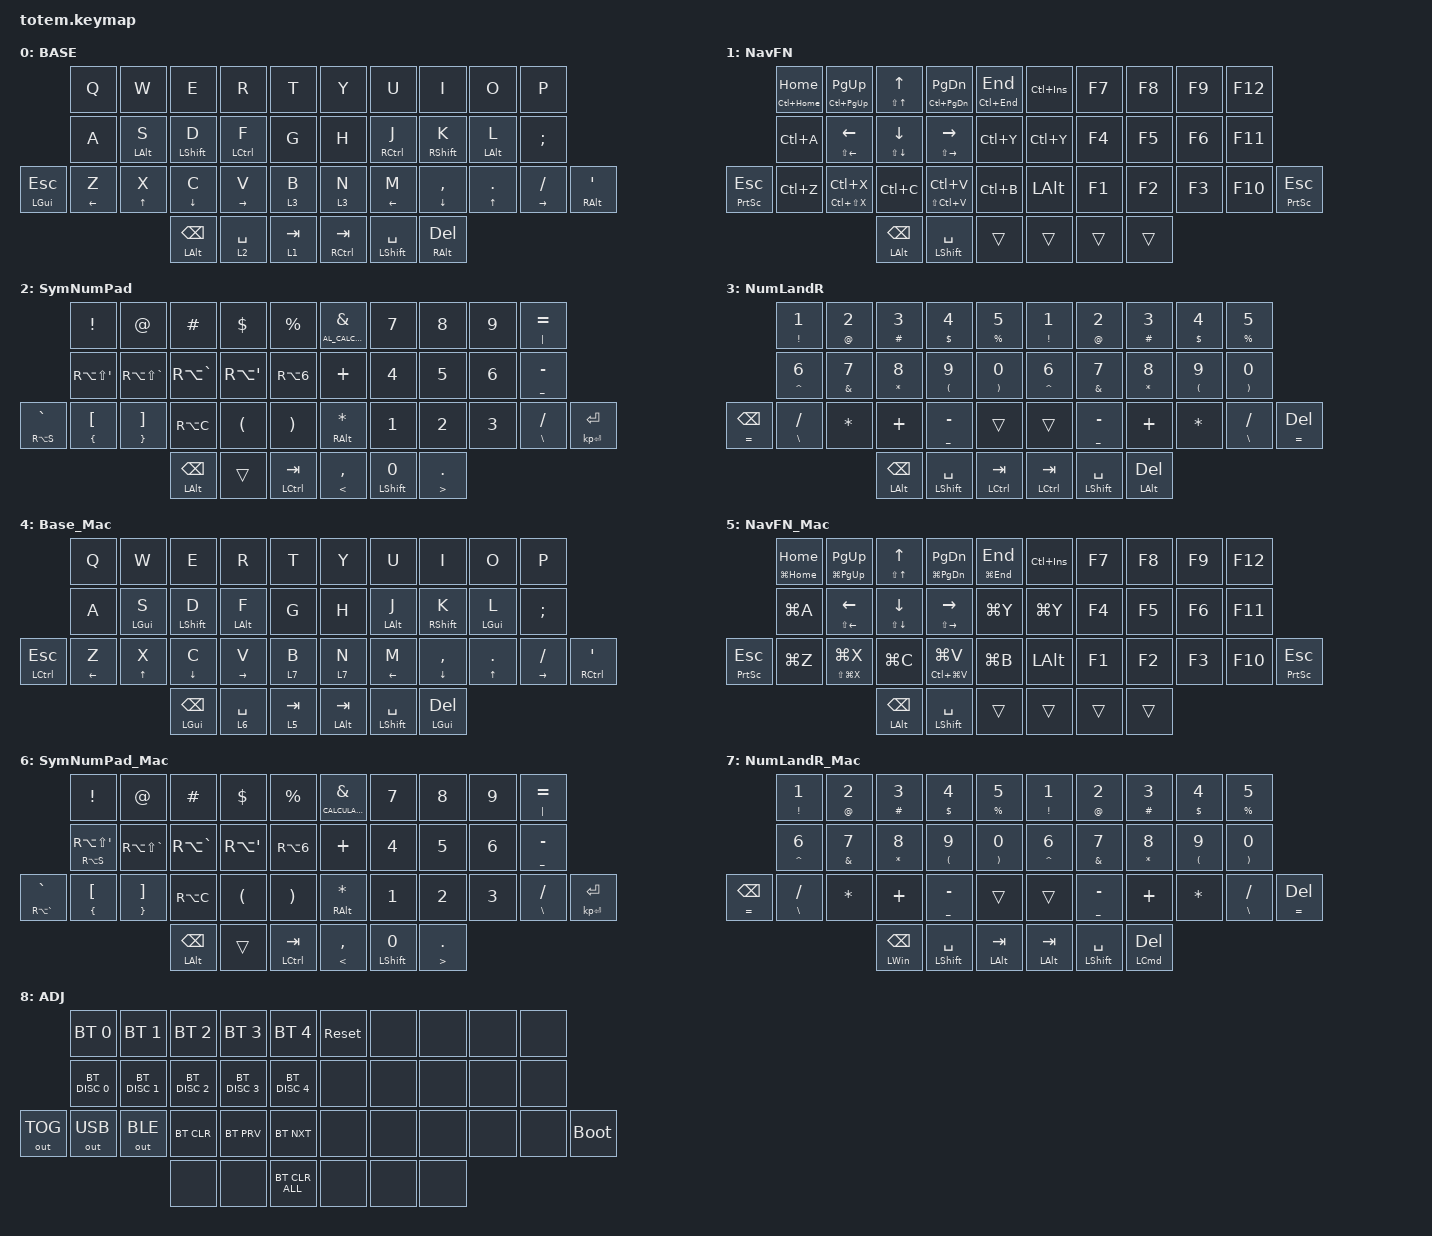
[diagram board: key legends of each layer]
//
//                                                        ▀▀▀▀▀     ▀▀▀▀▀          ▀▀█▀▀
//                                                        ▄▀▀▀▄  ▄  ▄▀▀▀▄  ▄  ▄▀▀▀▄  █  ▄▀▀▀▄
//                                                        █   █  █  █   █  █  █   █  █  █   █
//                                                         ▀▀▀   █   ▀▀▀   █   ▀▀▀   ▀   ▀▀▀
//                                                               █      ▄▄▄█▄▄▄    █   █  
//                                                               ▀      █  █  █     █▄█
//                                                             ▀▀▀▀▀    █  █  █      ▀
//                                                                      ▀  ▀  ▀
//
// ▄▄▄▄▄▄▄▄▄▄▄▄▄▄▄▄▄▄▄▄▄▄▄▄▄▄▄▄▄▄▄▄▄▄▄▄▄▄▄▄▄▄▄▄▄▄▄▄▄▄▄▄▄▄▄▄▄▄▄▄▄▄▄▄▄▄▄▄▄▄▄▄▄▄▄▄▄▄▄▄▄▄▄▄▄▄▄▄▄▄▄▄▄▄▄▄▄▄▄▄▄▄▄▄▄▄▄▄▄▄▄▄▄▄▄▄▄▄▄▄▄▄▄▄▄▄▄▄▄▄▄▄▄▄▄▄▄▄▄▄▄▄▄▄▄▄▄▄▄

#include <behaviors.dtsi>
#include <dt-bindings/zmk/bt.h>
#include <dt-bindings/zmk/keys.h>
#include <dt-bindings/zmk/outputs.h>

#define BASE 0
#define NAV  1
#define SYM  2
#define ADJ  3
#define TVP1 4
#define TVP2 5

&mt {
    quick-tap-ms = <100>;
    global-quick-tap;
    flavor = "tap-preferred";
    tapping-term-ms = <170>;
};

/ {
    combos {
        compatible = "zmk,combos";

        LDel {
            bindings = <&kp DELETE>;
            key-positions = <12 13>;
        };

        LCtrlDel {
            bindings = <&kp LC(DELETE)>;
            key-positions = <11 12 13>;
            layers = <0 1 2 3>;
        };

        LSpace {
            bindings = <&kp SPACE>;
            key-positions = <11 12>;
        };

        LCtrlBackspace {
            bindings = <&kp LC(BACKSPACE)>;
            key-positions = <12 11 10>;
            layers = <0 2 1 3>;
        };

        LEnter {
            bindings = <&kp ENTER>;
            key-positions = <13 10>;
        };

        Text_extract {
            bindings = <&kp LG(LS(E))>;
            key-positions = <3 2 1>;
        };

        Ctrl+Alt+Del {
            bindings = <&kp LC(LA(DELETE))>;
            key-positions = <35 36 37>;
            layers = <0 1 2 3>;
        };

        LCapsword {
            bindings = <&caps_word>;
            key-positions = <24 21>;
        };

        RCapsword {
            bindings = <&caps_word>;
            key-positions = <27 30>;
        };

        RDel {
            bindings = <&kp DELETE>;
            key-positions = <16 17>;
        };

        RCtrlDel {
            bindings = <&kp LC(DELETE)>;
            key-positions = <16 17 18>;
            layers = <0 1 2 3>;
        };

        RSpace {
            bindings = <&kp SPACE>;
            key-positions = <17 18>;
        };

        LBackspace {
            bindings = <&kp BACKSPACE>;
            key-positions = <11 10>;
        };

        RBackspace {
            bindings = <&kp BACKSPACE>;
            key-positions = <18 19>;
        };

        RCtrlBackspace {
            bindings = <&kp LC(BACKSPACE)>;
            key-positions = <17 18 19>;
            layers = <0 1 2 3>;
        };

        REnter {
            bindings = <&kp ENTER>;
            key-positions = <16 19>;
        };

        LAltEnter {
            bindings = <&kp LA(ENTER)>;
            key-positions = <13 12 11 10>;
        };

        RAltEnter {
            bindings = <&kp LA(ENTER)>;
            key-positions = <16 17 18 19>;
        };

        CtrlUp {
            bindings = <&mt LS(LC(UP_ARROW)) LC(UP_ARROW)>;
            key-positions = <2 34>;
            layers = <0 1 2 3>;
        };

        CtrlDown {
            bindings = <&mt LS(LC(DOWN)) LC(DOWN)>;
            key-positions = <34 12>;
            layers = <0 1 2 3>;
        };

        CtrlLeft {
            bindings = <&mt LS(LC(LEFT_ARROW)) LC(LEFT_ARROW)>;
            key-positions = <34 11>;
            layers = <0 1 2 3>;
        };

        CtrlRight {
            bindings = <&mt LS(LC(RIGHT_ARROW)) LC(RIGHT_ARROW)>;
            key-positions = <34 13>;
            layers = <0 1 2 3>;
        };

        Switch_to_Mac {
            bindings = <&tog 4>;
            key-positions = <6 7 8 35 9>;
            layers = <0>;
        };

        Switch_to_Win {
            bindings = <&tog 0>;
            key-positions = <6 7 8 35 9>;
            layers = <4>;
        };

        OptDel {
            bindings = <&kp LA(DELETE)>;
            key-positions = <11 12 13>;
            layers = <4 5 6 7>;
        };

        OptBackspace {
            bindings = <&kp LA(BACKSPACE)>;
            key-positions = <12 11 10>;
            layers = <4 5 6 7>;
        };

        ROptDel {
            bindings = <&kp LA(DELETE)>;
            key-positions = <16 17 18>;
            layers = <4 5 6 7>;
        };

        ROptBackspace {
            bindings = <&kp LA(BACKSPACE)>;
            key-positions = <17 18 19>;
            layers = <4 5 6 7>;
        };

        CmdUp {
            bindings = <&mt LS(LG(UP_ARROW)) LG(UP_ARROW)>;
            key-positions = <2 34>;
            layers = <4 5 6 7>;
        };

        CmdDown {
            bindings = <&mt LS(LG(DOWN)) LG(DOWN)>;
            key-positions = <34 12>;
            layers = <4 5 6 7>;
        };

        CmdLeft {
            bindings = <&mt LS(LG(LEFT_ARROW)) LG(LEFT_ARROW)>;
            key-positions = <34 11>;
            layers = <4 5 6 7>;
        };

        CmdRight {
            bindings = <&mt LS(LG(RIGHT_ARROW)) LG(RIGHT_ARROW)>;
            key-positions = <34 13>;
            layers = <4 5 6 7>;
        };

        To_Adj {
            bindings = <&to 8>;
            key-positions = <35 27 28 29 30>;
            layers = <0 4>;
        };

        Adj_to_Base {
            bindings = <&to 0>;
            key-positions = <35 27 28 29 30>;
            layers = <8>;
        };
    };

    behaviors {
        TD_Enter: TD_Enter {
            compatible = "zmk,behavior-tap-dance";
            label = "TD_ENTER";
            #binding-cells = <0>;
            bindings = <&mt LS(ENTER) ENTER>, <&mt LC(ENTER) LA(ENTER)>;
        };

        LeftHMR: LeftHMR {
            compatible = "zmk,behavior-hold-tap";
            label = "LEFTHMR";
            bindings = <&kp>, <&kp>;

            #binding-cells = <2>;
            tapping-term-ms = <280>;
            quick-tap-ms = <175>;
            require-prior-idle-ms = <150>;
            flavor = "balanced";
            hold-trigger-key-positions = <32 33 34 35 5 6 7 8 9 15 16 17 18 19 26 27 28 29 30 31 36 37>;
            hold-trigger-on-release;
        };

        RightHRM: RightHRM {
            compatible = "zmk,behavior-hold-tap";
            label = "RIGHTHRM";
            bindings = <&kp>, <&kp>;

            #binding-cells = <2>;
            tapping-term-ms = <280>;
            quick-tap-ms = <175>;
            require-prior-idle-ms = <150>;
            flavor = "balanced";
            hold-trigger-key-positions = <32 33 34 35 36 37 0 1 2 3 10 11 12 13 20 21 22 23 24 32 3 4 13 14 25>;
            hold-trigger-on-release;
        };
    };

    keymap {
        compatible = "zmk,keymap";

        // ▄▄▄▄▄▄▄▄▄▄▄▄▄▄▄▄▄▄▄▄▄▄▄▄▄▄▄▄▄▄▄▄▄▄▄▄▄▄▄▄▄▄▄▄▄▄▄▄▄▄▄▄▄▄▄▄▄▄▄▄▄▄▄▄▄▄▄▄▄▄▄▄▄▄▄▄▄▄▄▄▄▄▄▄▄▄▄▄▄▄▄▄▄▄▄▄▄▄▄▄▄▄▄▄▄▄▄▄▄▄▄▄▄▄▄▄▄▄▄▄▄▄▄▄▄▄▄▄▄▄▄▄▄▄▄▄▄▄▄▄▄▄▄▄▄▄▄▄▄

        base_layer {
            // ┏━━━━━━━━━━━━━━━━━━━━━━━━━━━━━━━━━━━━━━━┓

            label = "BASE";

            // ┗━━━━━━━━━━━━━━━━━━━━━━━━━━━━━━━━━━━━━━━┛
            //             ┏━━━━━━━━━━━┳━━━━━━━━━━━┳━━━━━━━━━━━┳━━━━━━━━━━━┳━━━━━━━━━━━┓   ┏━━━━━━━━━━━┳━━━━━━━━━━━┳━━━━━━━━━━━┳━━━━━━━━━━━┳━━━━━━━━━━━┓
            //             ┃     Q     ┃     W     ┃     F     ┃     P     ┃     G     ┃   ┃     J     ┃     L     ┃     U     ┃     Y     ┃     ;     ┃
            //             ┣━━━━━━━━━━━╋━━━━━━━━━━━╋━━━━━━━━━━━╋━━━━━━━━━━━╋━━━━━━━━━━━┫   ┣━━━━━━━━━━━╋━━━━━━━━━━━╋━━━━━━━━━━━╋━━━━━━━━━━━╋━━━━━━━━━━━┫
            //             ┃     A     ┃     R     ┃     S     ┃     T     ┃     D     ┃   ┃     H     ┃     N     ┃     E     ┃     I     ┃     O     ┃
            // ┏━━━━━━━━━━━╋━━━━━━━━━━━╋━━━━━━━━━━━╋━━━━━━━━━━━╋━━━━━━━━━━━╋━━━━━━━━━━━┫   ┣━━━━━━━━━━━╋━━━━━━━━━━━╋━━━━━━━━━━━╋━━━━━━━━━━━╋━━━━━━━━━━━╋━━━━━━━━━━━┓
            // ┃     Q     ┃     Z     ┃     X     ┃     C     ┃     V     ┃     B     ┃   ┃     K     ┃     M     ┃     ,     ┃     .     ┃     /     ┃     \     ┃
            // ┗━━━━━━━━━━━┻━━━━━━━━━━━┻━━━━━━━━━━━╋━━━━━━━━━━━╋━━━━━━━━━━━╋━━━━━━━━━━━┫   ┣━━━━━━━━━━━╋━━━━━━━━━━━╋━━━━━━━━━━━╋━━━━━━━━━━━┻━━━━━━━━━━━┻━━━━━━━━━━━┛
            //                                     ┃    DEL    ┃    TAB    ┃    SPC    ┃   ┃   ENTER   ┃           ┃   BSPC    ┃
            //                                     ┗━━━━━━━━━━━┻━━━━━━━━━━━┻━━━━━━━━━━━┛   ┗━━━━━━━━━━━┻━━━━━━━━━━━┻━━━━━━━━━━━┛

            bindings = <
                     &kp Q       &kp W                &kp E                   &kp R             &kp T        &kp Y          &kp U                 &kp I                    &kp O             &kp P
                     &kp A       &LeftHMR LEFT_ALT S  &LeftHMR LEFT_SHIFT D   &LeftHMR LCTRL F  &kp G        &kp H          &RightHRM RCTRL J     &RightHRM RIGHT_SHIFT K  &RightHRM LALT L  &kp SEMICOLON
&mt LEFT_GUI ESCAPE  &mt LEFT Z  &mt UP_ARROW X       &mt DOWN C              &mt RIGHT V       &lt 3 B      &lt 3 N        &mt LEFT M            &mt DOWN COMMA           &mt UP_ARROW DOT  &mt RIGHT SLASH  &mt RALT APOS
                                                      &mt LEFT_ALT BACKSPACE  &lt 2 SPACE       &lt 1 TAB    &mt RCTRL TAB  &mt LEFT_SHIFT SPACE  &mt RIGHT_ALT DELETE
            >;
        };

        NavFN {
            bindings = <
                        &mt LC(HOME) HOME  &mt LC(PG_UP) PG_UP  &mt LS(UP_ARROW) UP_ARROW  &mt LC(PAGE_DOWN) PAGE_DOWN  &mt LC(END) END    &kp LC(INSERT)  &kp F7  &kp F8  &kp F9  &kp F12
                        &kp LC(A)          &mt LS(LEFT) LEFT    &mt LS(DOWN) DOWN          &mt LS(RIGHT_ARROW) RIGHT    &kp LC(Y)          &kp LC(Y)       &kp F4  &kp F5  &kp F6  &kp F11
&mt PRINTSCREEN ESCAPE  &kp LC(Z)          &mt LC(LS(X)) LC(X)  &kp LC(C)                  &mt LS(LC(V)) LC(V)          &kp LC(B)          &kp LALT        &kp F1  &kp F2  &kp F3  &kp F10  &mt PRINTSCREEN ESCAPE
                                                                &mt LEFT_ALT BACKSPACE     &mt LEFT_SHIFT SPACE         &trans             &trans          &trans  &trans
            >;
        };

        SymNumPad {
            bindings = <
                 &kp EXCLAMATION              &kp AT_SIGN                    &kp HASH                &kp DOLLAR            &kp PERCENT              &mt C_AL_CALCULATOR AMPERSAND  &kp N7             &kp N8                   &kp N9        &mt PIPE EQUAL
                 &kp RA(LS(APOS))             &kp RA(LS(GRAVE))              &kp RA(GRAVE)           &kp RA(APOS)          &kp RA(NUMBER_6)         &kp PLUS                       &kp NUMBER_4       &kp N5                   &kp NUMBER_6  &mt UNDERSCORE MINUS
&mt RA(S) GRAVE  &mt LEFT_BRACE LEFT_BRACKET  &mt RIGHT_BRACE RIGHT_BRACKET  &kp RA(C)               &kp LEFT_PARENTHESIS  &kp RIGHT_PARENTHESIS    &mt RALT ASTERISK              &kp NUMBER_1       &kp NUMBER_2             &kp NUMBER_3  &mt BACKSLASH SLASH   &mt KP_ENTER ENTER
                                                                             &mt LEFT_ALT BACKSPACE  &trans                &mt LCTRL TAB            &mt LESS_THAN COMMA            &mt LEFT_SHIFT N0  &mt GREATER_THAN PERIOD
            >;
        };

        NumLandR {
            bindings = <
                     &mt EXCL NUMBER_1    &mt AT NUMBER_2   &mt HASH NUMBER_3       &mt DOLLAR NUMBER_4      &mt PERCENT N5              &mt EXCL NUMBER_1   &mt AT NUMBER_2       &mt HASH NUMBER_3    &mt DOLLAR NUMBER_4      &mt PERCENT N5
                     &mt CARET NUMBER_6   &mt AMPERSAND N7  &mt ASTERISK N8         &mt LEFT_PARENTHESIS N9  &mt RIGHT_PARENTHESIS N0    &mt CARET NUMBER_6  &mt AMPERSAND N7      &mt ASTERISK N8      &mt LEFT_PARENTHESIS N9  &mt RIGHT_PARENTHESIS N0
&mt EQUAL BACKSPACE  &mt BACKSLASH SLASH  &kp ASTERISK      &kp PLUS                &mt UNDER MINUS          &trans                      &trans              &mt UNDER MINUS       &kp PLUS             &kp ASTERISK             &mt BACKSLASH SLASH       &mt EQUAL DEL
                                                            &mt LEFT_ALT BACKSPACE  &mt LEFT_SHIFT SPACE     &mt LCTRL TAB               &mt LCTRL TAB       &mt LEFT_SHIFT SPACE  &mt LEFT_ALT DELETE
            >;
        };

        Base_Mac {
            bindings = <
                  &kp Q       &kp W            &kp E                  &kp R            &kp T        &kp Y         &kp U                 &kp I                    &kp O                 &kp P
                  &kp A       &LeftHMR LGUI S  &LeftHMR LEFT_SHIFT D  &LeftHMR LALT F  &kp G        &kp H         &RightHRM LALT J      &RightHRM RIGHT_SHIFT K  &RightHRM LEFT_GUI L  &kp SEMICOLON
&mt LCTRL ESCAPE  &mt LEFT Z  &mt UP_ARROW X   &mt DOWN C             &mt RIGHT V      &lt 7 B      &lt 7 N       &mt LEFT M            &mt DOWN COMMA           &mt UP_ARROW DOT      &mt RIGHT SLASH  &mt RCTRL APOS
                                               &mt LGUI BACKSPACE     &lt 6 SPACE      &lt 5 TAB    &mt LALT TAB  &mt LEFT_SHIFT SPACE  &mt LGUI DELETE
            >;
        };

        NavFN_Mac {
            bindings = <
                        &mt LG(HOME) HOME  &mt LG(PG_UP) PG_UP  &mt LS(UP_ARROW) UP_ARROW  &mt LG(PAGE_DOWN) PAGE_DOWN  &mt LG(END) END    &kp LC(INSERT)  &kp F7  &kp F8  &kp F9  &kp F12
                        &kp LG(A)          &mt LS(LEFT) LEFT    &mt LS(DOWN) DOWN          &mt LS(RIGHT_ARROW) RIGHT    &kp LG(Y)          &kp LG(Y)       &kp F4  &kp F5  &kp F6  &kp F11
&mt PRINTSCREEN ESCAPE  &kp LG(Z)          &mt LS(LG(X)) LG(X)  &kp LG(C)                  &mt LC(LG(V)) LG(V)          &kp LG(B)          &kp LALT        &kp F1  &kp F2  &kp F3  &kp F10  &mt PRINTSCREEN ESCAPE
                                                                &mt LEFT_ALT BACKSPACE     &mt LEFT_SHIFT SPACE         &trans             &trans          &trans  &trans
            >;
        };

        SymNumPad_Mac {
            bindings = <
                     &kp EXCLAMATION               &kp AT_SIGN                    &kp HASH                &kp DOLLAR            &kp PERCENT              &mt K_CALCULATOR AMPERSAND  &kp N7             &kp N8                   &kp N9        &mt PIPE EQUAL
                     &mt RA(S) RA(LS(APOSTROPHE))  &kp RA(LS(GRAVE))              &kp RA(GRAVE)           &kp RA(APOS)          &kp RA(NUMBER_6)         &kp PLUS                    &kp NUMBER_4       &kp N5                   &kp NUMBER_6  &mt UNDERSCORE MINUS
&mt RA(GRAVE) GRAVE  &mt LEFT_BRACE LEFT_BRACKET   &mt RIGHT_BRACE RIGHT_BRACKET  &kp RA(C)               &kp LEFT_PARENTHESIS  &kp RIGHT_PARENTHESIS    &mt RALT ASTERISK           &kp NUMBER_1       &kp NUMBER_2             &kp NUMBER_3  &mt BACKSLASH SLASH   &mt KP_ENTER ENTER
                                                                                  &mt LEFT_ALT BACKSPACE  &trans                &mt LCTRL TAB            &mt LESS_THAN COMMA         &mt LEFT_SHIFT N0  &mt GREATER_THAN PERIOD
            >;
        };

        NumLandR_Mac {
            bindings = <
                     &mt EXCL NUMBER_1    &mt AT NUMBER_2   &mt HASH NUMBER_3       &mt DOLLAR NUMBER_4      &mt PERCENT N5              &mt EXCL NUMBER_1   &mt AT NUMBER_2       &mt HASH NUMBER_3  &mt DOLLAR NUMBER_4      &mt PERCENT N5
                     &mt CARET NUMBER_6   &mt AMPERSAND N7  &mt ASTERISK N8         &mt LEFT_PARENTHESIS N9  &mt RIGHT_PARENTHESIS N0    &mt CARET NUMBER_6  &mt AMPERSAND N7      &mt ASTERISK N8    &mt LEFT_PARENTHESIS N9  &mt RIGHT_PARENTHESIS N0
&mt EQUAL BACKSPACE  &mt BACKSLASH SLASH  &kp ASTERISK      &kp PLUS                &mt UNDER MINUS          &trans                      &trans              &mt UNDER MINUS       &kp PLUS           &kp ASTERISK             &mt BACKSLASH SLASH       &mt EQUAL DEL
                                                            &mt LEFT_WIN BACKSPACE  &mt LEFT_SHIFT SPACE     &mt LEFT_ALT TAB            &mt LEFT_ALT TAB    &mt LEFT_SHIFT SPACE  &mt LCMD DELETE
            >;
        };

        adjust_layer {
            // ┏━━━━━━━━━━━━━━━━━━━━━━━━━━━━━━━━━━━━━━━┓

            label = "ADJ";

            // ┗━━━━━━━━━━━━━━━━━━━━━━━━━━━━━━━━━━━━━━━┛
            //             ┏━━━━━━━━━━━┳━━━━━━━━━━━┳━━━━━━━━━━━┳━━━━━━━━━━━┳━━━━━━━━━━━┓   ┏━━━━━━━━━━━┳━━━━━━━━━━━┳━━━━━━━━━━━┳━━━━━━━━━━━┳━━━━━━━━━━━┓
            //             ┃   RESET   ┃ BT CLEAR  ┃  OUT TOG  ┃           ┃           ┃   ┃           ┃    F7     ┃    F8     ┃    F9     ┃    F12    ┃
            //             ┣━━━━━━━━━━━╋━━━━━━━━━━━╋━━━━━━━━━━━╋━━━━━━━━━━━╋━━━━━━━━━━━┫   ┣━━━━━━━━━━━╋━━━━━━━━━━━╋━━━━━━━━━━━╋━━━━━━━━━━━╋━━━━━━━━━━━┫
            //             ┃ BOOTLOAD  ┃ BT NEXT   ┃           ┃           ┃           ┃   ┃           ┃    F4     ┃    F5     ┃    F6     ┃    F11    ┃
            // ┏━━━━━━━━━━━╋━━━━━━━━━━━╋━━━━━━━━━━━╋━━━━━━━━━━━╋━━━━━━━━━━━╋━━━━━━━━━━━┫   ┣━━━━━━━━━━━╋━━━━━━━━━━━╋━━━━━━━━━━━╋━━━━━━━━━━━╋━━━━━━━━━━━╋━━━━━━━━━━━┓
            // ┃           ┃           ┃ BT PREV   ┃           ┃           ┃           ┃   ┃           ┃    F1     ┃    F2     ┃    F3     ┃    F10    ┃           ┃
            // ┗━━━━━━━━━━━┻━━━━━━━━━━━┻━━━━━━━━━━━╋━━━━━━━━━━━╋━━━━━━━━━━━╋━━━━━━━━━━━┫   ┣━━━━━━━━━━━╋━━━━━━━━━━━╋━━━━━━━━━━━╋━━━━━━━━━━━┻━━━━━━━━━━━┻━━━━━━━━━━━┛
            //                                     ┃           ┃           ┃           ┃   ┃           ┃           ┃           ┃
            //                                     ┗━━━━━━━━━━━┻━━━━━━━━━━━┻━━━━━━━━━━━┛   ┗━━━━━━━━━━━┻━━━━━━━━━━━┻━━━━━━━━━━━┛

            bindings = <
              &bt BT_SEL 0   &bt BT_SEL 1   &bt BT_SEL 2   &bt BT_SEL 3   &bt BT_SEL 4      &sys_reset  &none  &none  &none  &none
              &bt BT_DISC 0  &bt BT_DISC 1  &bt BT_DISC 2  &bt BT_DISC 3  &bt BT_DISC 4     &none       &none  &none  &none  &none
&out OUT_TOG  &out OUT_USB   &out OUT_BLE   &bt BT_CLR     &bt BT_PRV     &bt BT_NXT        &none       &none  &none  &none  &none  &bootloader
                                            &none          &none          &bt BT_CLR_ALL    &none       &none  &none
            >;
        };
    };
};
